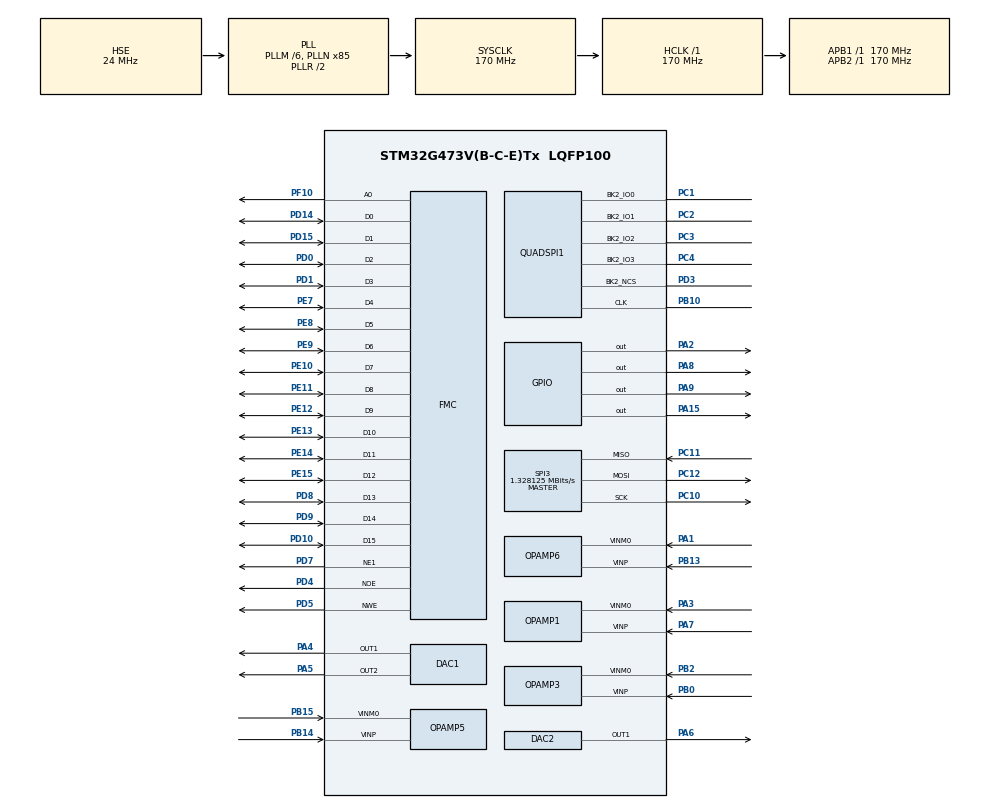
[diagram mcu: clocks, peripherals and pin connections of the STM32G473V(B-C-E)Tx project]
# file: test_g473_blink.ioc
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ADC1.AWD1HighThreshold=4095
ADC1.AWD1ITMode=ENABLE
ADC1.AWD1LowThreshold=2048+768
ADC1.AWD2HighThreshold=2048+768
ADC1.AWD2ITMode=ENABLE
ADC1.AWD2LowThreshold=0
ADC1.AWDChannel-0\#ChannelRegularConversion=ADC_CHANNEL_VOPAMP1
ADC1.Channel-0\#ChannelRegularConversion=ADC_CHANNEL_VOPAMP1
ADC1.ContinuousConvMode=DISABLE
ADC1.DMAContinuousRequests=ENABLE
ADC1.EnableAnalogWatchDog1=true
ADC1.EnableAnalogWatchDog2=true
ADC1.EnableAnalogWatchDog3=false
ADC1.ExternalTrigConv=ADC_EXTERNALTRIG_T1_TRGO
ADC1.MonitoredBy-0\#ChannelRegularConversion=ADC_ANALOGWATCHDOG_2
ADC1.NbrOfConversionFlag=1
ADC1.OffsetNumber-0\#ChannelRegularConversion=ADC_OFFSET_NONE
ADC1.Rank-0\#ChannelRegularConversion=1
ADC1.RegFilteringConfig-0\#ChannelRegularConversion=ADC_AWD_FILTERING_NONE
ADC1.SamplingTime-0\#ChannelRegularConversion=ADC_SAMPLETIME_2CYCLES_5
ADC1.WDG2ChannelR1=ADC_CHANNEL_VOPAMP1
ADC1.WatchdogChannel=ADC_CHANNEL_VOPAMP1
ADC1.WatchdogMode2=ADC_ANALOGWATCHDOG_SINGLE_REGINJEC
ADC1.master=1
ADC3.Channel-0\#ChannelRegularConversion=ADC_CHANNEL_VOPAMP3_ADC3
ADC3.DMAContinuousRequests=ENABLE
ADC3.ExternalTrigConv=ADC_EXTERNALTRIG_T1_TRGO
ADC3.NbrOfConversionFlag=1
ADC3.OffsetNumber-0\#ChannelRegularConversion=ADC_OFFSET_NONE
ADC3.Rank-0\#ChannelRegularConversion=1
ADC3.SamplingTime-0\#ChannelRegularConversion=ADC_SAMPLETIME_24CYCLES_5
ADC3.master=1
ADC4.Channel-0\#ChannelRegularConversion=ADC_CHANNEL_VOPAMP6
ADC4.DMAContinuousRequests=ENABLE
ADC4.ExternalTrigConv=ADC_EXTERNALTRIG_T1_TRGO
ADC4.NbrOfConversionFlag=1
ADC4.OffsetNumber-0\#ChannelRegularConversion=ADC_OFFSET_NONE
ADC4.Rank-0\#ChannelRegularConversion=1
ADC4.SamplingTime-0\#ChannelRegularConversion=ADC_SAMPLETIME_24CYCLES_5
ADC5.Channel-0\#ChannelRegularConversion=ADC_CHANNEL_VOPAMP5
ADC5.DMAContinuousRequests=ENABLE
ADC5.ExternalTrigConv=ADC_EXTERNALTRIG_T1_TRGO
ADC5.NbrOfConversionFlag=1
ADC5.OffsetNumber-0\#ChannelRegularConversion=ADC_OFFSET_NONE
ADC5.Rank-0\#ChannelRegularConversion=1
ADC5.SamplingTime-0\#ChannelRegularConversion=ADC_SAMPLETIME_24CYCLES_5
DAC1.DAC_Channel-DAC_OUT2=DAC_CHANNEL_2
DAC1.DAC_Trigger_OUT1-DAC_OUT1=DAC_TRIGGER_T3_TRGO
DAC1.DAC_Trigger_OUT2-DAC_OUT2=DAC_TRIGGER_T3_TRGO
Dma.ADC1.1.Direction=DMA_PERIPH_TO_MEMORY
Dma.ADC1.1.EventEnable=DISABLE
Dma.ADC1.1.Instance=DMA1_Channel1
Dma.ADC1.1.MemDataAlignment=DMA_MDATAALIGN_HALFWORD
Dma.ADC1.1.MemInc=DMA_MINC_ENABLE
Dma.ADC1.1.Mode=DMA_CIRCULAR
Dma.ADC1.1.PeriphDataAlignment=DMA_PDATAALIGN_HALFWORD
Dma.ADC1.1.PeriphInc=DMA_PINC_DISABLE
Dma.ADC1.1.Polarity=HAL_DMAMUX_REQ_GEN_RISING
Dma.ADC1.1.Priority=DMA_PRIORITY_LOW
Dma.ADC1.1.RequestNumber=1
Dma.ADC1.1.SignalID=NONE
Dma.ADC1.1.SyncEnable=DISABLE
Dma.ADC1.1.SyncPolarity=HAL_DMAMUX_SYNC_NO_EVENT
Dma.ADC1.1.SyncRequestNumber=1
Dma.ADC1.1.SyncSignalID=NONE
Dma.ADC3.4.Direction=DMA_PERIPH_TO_MEMORY
Dma.ADC3.4.EventEnable=DISABLE
Dma.ADC3.4.Instance=DMA1_Channel2
Dma.ADC3.4.MemDataAlignment=DMA_MDATAALIGN_HALFWORD
Dma.ADC3.4.MemInc=DMA_MINC_ENABLE
Dma.ADC3.4.Mode=DMA_CIRCULAR
Dma.ADC3.4.PeriphDataAlignment=DMA_PDATAALIGN_HALFWORD
Dma.ADC3.4.PeriphInc=DMA_PINC_DISABLE
Dma.ADC3.4.Polarity=HAL_DMAMUX_REQ_GEN_RISING
Dma.ADC3.4.Priority=DMA_PRIORITY_LOW
Dma.ADC3.4.RequestNumber=1
Dma.ADC3.4.SignalID=NONE
Dma.ADC3.4.SyncEnable=DISABLE
Dma.ADC3.4.SyncPolarity=HAL_DMAMUX_SYNC_NO_EVENT
Dma.ADC3.4.SyncRequestNumber=1
Dma.ADC3.4.SyncSignalID=NONE
Dma.ADC4.5.Direction=DMA_PERIPH_TO_MEMORY
Dma.ADC4.5.EventEnable=DISABLE
Dma.ADC4.5.Instance=DMA1_Channel3
Dma.ADC4.5.MemDataAlignment=DMA_MDATAALIGN_HALFWORD
Dma.ADC4.5.MemInc=DMA_MINC_ENABLE
Dma.ADC4.5.Mode=DMA_CIRCULAR
Dma.ADC4.5.PeriphDataAlignment=DMA_PDATAALIGN_HALFWORD
Dma.ADC4.5.PeriphInc=DMA_PINC_DISABLE
Dma.ADC4.5.Polarity=HAL_DMAMUX_REQ_GEN_RISING
Dma.ADC4.5.Priority=DMA_PRIORITY_LOW
Dma.ADC4.5.RequestNumber=1
Dma.ADC4.5.SignalID=NONE
Dma.ADC4.5.SyncEnable=DISABLE
Dma.ADC4.5.SyncPolarity=HAL_DMAMUX_SYNC_NO_EVENT
Dma.ADC4.5.SyncRequestNumber=1
Dma.ADC4.5.SyncSignalID=NONE
Dma.ADC5.6.Direction=DMA_PERIPH_TO_MEMORY
Dma.ADC5.6.EventEnable=DISABLE
Dma.ADC5.6.Instance=DMA1_Channel4
Dma.ADC5.6.MemDataAlignment=DMA_MDATAALIGN_HALFWORD
Dma.ADC5.6.MemInc=DMA_MINC_ENABLE
Dma.ADC5.6.Mode=DMA_CIRCULAR
Dma.ADC5.6.PeriphDataAlignment=DMA_PDATAALIGN_HALFWORD
Dma.ADC5.6.PeriphInc=DMA_PINC_DISABLE
Dma.ADC5.6.Polarity=HAL_DMAMUX_REQ_GEN_RISING
Dma.ADC5.6.Priority=DMA_PRIORITY_LOW
Dma.ADC5.6.RequestNumber=1
Dma.ADC5.6.SignalID=NONE
Dma.ADC5.6.SyncEnable=DISABLE
Dma.ADC5.6.SyncPolarity=HAL_DMAMUX_SYNC_NO_EVENT
Dma.ADC5.6.SyncRequestNumber=1
Dma.ADC5.6.SyncSignalID=NONE
Dma.DAC1_CH1.2.Direction=DMA_MEMORY_TO_PERIPH
Dma.DAC1_CH1.2.EventEnable=DISABLE
Dma.DAC1_CH1.2.Instance=DMA2_Channel1
Dma.DAC1_CH1.2.MemDataAlignment=DMA_MDATAALIGN_HALFWORD
Dma.DAC1_CH1.2.MemInc=DMA_MINC_ENABLE
Dma.DAC1_CH1.2.Mode=DMA_CIRCULAR
Dma.DAC1_CH1.2.PeriphDataAlignment=DMA_PDATAALIGN_WORD
Dma.DAC1_CH1.2.PeriphInc=DMA_PINC_DISABLE
Dma.DAC1_CH1.2.Polarity=HAL_DMAMUX_REQ_GEN_RISING
Dma.DAC1_CH1.2.Priority=DMA_PRIORITY_LOW
Dma.DAC1_CH1.2.RequestNumber=1
Dma.DAC1_CH1.2.SignalID=NONE
Dma.DAC1_CH1.2.SyncEnable=DISABLE
Dma.DAC1_CH1.2.SyncPolarity=HAL_DMAMUX_SYNC_NO_EVENT
Dma.DAC1_CH1.2.SyncRequestNumber=1
Dma.DAC1_CH1.2.SyncSignalID=NONE
Dma.DAC1_CH2.3.Direction=DMA_MEMORY_TO_PERIPH
Dma.DAC1_CH2.3.EventEnable=DISABLE
Dma.DAC1_CH2.3.Instance=DMA2_Channel2
Dma.DAC1_CH2.3.MemDataAlignment=DMA_MDATAALIGN_HALFWORD
Dma.DAC1_CH2.3.MemInc=DMA_MINC_ENABLE
Dma.DAC1_CH2.3.Mode=DMA_CIRCULAR
Dma.DAC1_CH2.3.PeriphDataAlignment=DMA_PDATAALIGN_WORD
Dma.DAC1_CH2.3.PeriphInc=DMA_PINC_DISABLE
Dma.DAC1_CH2.3.Polarity=HAL_DMAMUX_REQ_GEN_RISING
Dma.DAC1_CH2.3.Priority=DMA_PRIORITY_LOW
Dma.DAC1_CH2.3.RequestNumber=1
Dma.DAC1_CH2.3.SignalID=NONE
Dma.DAC1_CH2.3.SyncEnable=DISABLE
Dma.DAC1_CH2.3.SyncPolarity=HAL_DMAMUX_SYNC_NO_EVENT
Dma.DAC1_CH2.3.SyncRequestNumber=1
Dma.DAC1_CH2.3.SyncSignalID=NONE
Dma.QUADSPI.0.Direction=DMA_MEMORY_TO_PERIPH
Dma.QUADSPI.0.EventEnable=DISABLE
Dma.QUADSPI.0.Instance=DMA2_Channel3
Dma.QUADSPI.0.MemDataAlignment=DMA_MDATAALIGN_BYTE
Dma.QUADSPI.0.MemInc=DMA_MINC_ENABLE
Dma.QUADSPI.0.Mode=DMA_NORMAL
Dma.QUADSPI.0.PeriphDataAlignment=DMA_PDATAALIGN_BYTE
Dma.QUADSPI.0.PeriphInc=DMA_PINC_DISABLE
Dma.QUADSPI.0.Polarity=HAL_DMAMUX_REQ_GEN_RISING
Dma.QUADSPI.0.Priority=DMA_PRIORITY_LOW
Dma.QUADSPI.0.RequestNumber=1
Dma.QUADSPI.0.SignalID=NONE
Dma.QUADSPI.0.SyncEnable=DISABLE
Dma.QUADSPI.0.SyncPolarity=HAL_DMAMUX_SYNC_NO_EVENT
Dma.QUADSPI.0.SyncRequestNumber=1
Dma.QUADSPI.0.SyncSignalID=NONE
Dma.Request0=QUADSPI
Dma.Request1=ADC1
Dma.Request2=DAC1_CH1
Dma.Request3=DAC1_CH2
Dma.Request4=ADC3
Dma.Request5=ADC4
Dma.Request6=ADC5
FMC.DataSetupTime1=15
FMC.WriteFifo1=FMC_WRITE_FIFO_DISABLE
Mcu.Family=STM32G4
Mcu.Name=STM32G473V(B-C-E)Tx
Mcu.Package=LQFP100
NVIC.ADC1_2_IRQn=true\:0\:0\:false\:false\:true\:true\:true\:true
NVIC.DMA1_Channel1_IRQn=true\:0\:0\:false\:false\:true\:false\:true\:true
NVIC.DMA1_Channel2_IRQn=true\:0\:0\:false\:false\:true\:false\:true\:true
NVIC.DMA1_Channel3_IRQn=true\:0\:0\:false\:false\:true\:false\:true\:true
NVIC.DMA1_Channel4_IRQn=true\:0\:0\:false\:false\:true\:false\:true\:true
NVIC.DMA2_Channel1_IRQn=true\:0\:0\:false\:false\:true\:false\:true\:true
NVIC.DMA2_Channel2_IRQn=true\:0\:0\:false\:false\:true\:false\:true\:true
NVIC.DMA2_Channel3_IRQn=true\:0\:0\:false\:false\:true\:false\:true\:true
NVIC.PriorityGroup=NVIC_PRIORITYGROUP_4
NVIC.QUADSPI_IRQn=true\:0\:0\:false\:false\:true\:true\:true\:true
NVIC.TIM2_IRQn=true\:0\:0\:false\:false\:true\:true\:true\:true
OPAMP1.PowerMode=OPAMP_POWERMODE_NORMALSPEED
PA1.Mode=PGA Internally connected_IO0_BIAS
PA1.Signal=OPAMP6_VINM0
PA13.Mode=Trace_Asynchronous_SW
PA13.Signal=SYS_JTMS-SWDIO
PA14.Mode=Trace_Asynchronous_SW
PA14.Signal=SYS_JTCK-SWCLK
PA15.Signal=GPIO_Output
PA2.Signal=GPIO_Output
PA3.Mode=PGA Internally connected_IO0_BIAS
PA3.Signal=OPAMP1_VINM0
PA4.Signal=COMP_DAC11_group
PA5.Signal=COMP_DAC12_group
PA6.Signal=COMP_DAC21_group
PA7.Mode=PGA Internally connected_IO0_BIAS
PA7.Signal=OPAMP1_VINP
PA8.Signal=GPIO_Output
PA9.Signal=GPIO_Output
PB0.Mode=PGA Internally connected_IO0_BIAS
PB0.Signal=OPAMP3_VINP
PB10.Mode=Single Bank 2
PB10.Signal=QUADSPI1_CLK
PB13.Mode=PGA Internally connected_IO0_BIAS
PB13.Signal=OPAMP6_VINP
PB14.Mode=PGA Internally connected_IO0_BIAS
PB14.Signal=OPAMP5_VINP
PB15.Mode=PGA Internally connected_IO0_BIAS
PB15.Signal=OPAMP5_VINM0
PB2.Mode=PGA Internally connected_IO0_BIAS
PB2.Signal=OPAMP3_VINM0
PB3.Mode=Trace_Asynchronous_SW
PB3.Signal=SYS_JTDO-SWO
PC1.Mode=Single Bank 2
PC1.Signal=QUADSPI1_BK2_IO0
PC10.Mode=Full_Duplex_Master
PC10.Signal=SPI3_SCK
PC11.Mode=Full_Duplex_Master
PC11.Signal=SPI3_MISO
PC12.Mode=Full_Duplex_Master
PC12.Signal=SPI3_MOSI
PC2.Mode=Single Bank 2
PC2.Signal=QUADSPI1_BK2_IO1
PC3.Mode=Single Bank 2
PC3.Signal=QUADSPI1_BK2_IO2
PC4.Mode=Single Bank 2
PC4.Signal=QUADSPI1_BK2_IO3
PD0.Mode=16b-d1
PD0.Signal=FMC_D2
PD1.Mode=16b-d1
PD1.Signal=FMC_D3
PD10.Mode=16b-d1
PD10.Signal=FMC_D15
PD14.Mode=16b-d1
PD14.Signal=FMC_D0
PD15.Mode=16b-d1
PD15.Signal=FMC_D1
PD3.Mode=Single Bank 2
PD3.Signal=QUADSPI1_BK2_NCS
PD4.Mode=Lcd1
PD4.Signal=FMC_NOE
PD5.Mode=Lcd1
PD5.Signal=FMC_NWE
PD7.Mode=NorPsramChipSelect1_1
PD7.Signal=FMC_NE1
PD8.Mode=16b-d1
PD8.Signal=FMC_D13
PD9.Mode=16b-d1
PD9.Signal=FMC_D14
PE10.Mode=16b-d1
PE10.Signal=FMC_D7
PE11.Mode=16b-d1
PE11.Signal=FMC_D8
PE12.Mode=16b-d1
PE12.Signal=FMC_D9
PE13.Mode=16b-d1
PE13.Signal=FMC_D10
PE14.Mode=16b-d1
PE14.Signal=FMC_D11
PE15.Mode=16b-d1
PE15.Signal=FMC_D12
PE7.Mode=16b-d1
PE7.Signal=FMC_D4
PE8.Mode=16b-d1
PE8.Signal=FMC_D5
PE9.Mode=16b-d1
PE9.Signal=FMC_D6
PF0-OSC_IN.Mode=HSE-External-Oscillator
PF0-OSC_IN.Signal=RCC_OSC_IN
PF1-OSC_OUT.Mode=HSE-External-Oscillator
PF1-OSC_OUT.Signal=RCC_OSC_OUT
PF10.Mode=A0_1
PF10.Signal=FMC_A0
ProjectManager.HeapSize=0x200
ProjectManager.StackSize=0x400
ProjectManager.TargetToolchain=STM32CubeIDE
QUADSPI1.ChipSelectHighTime=QSPI_CS_HIGH_TIME_1_CYCLE
QUADSPI1.ClockPrescaler=6
QUADSPI1.FlashSize=23
RCC.ADC12Freq_Value=170000000
RCC.ADC345Freq_Value=170000000
RCC.AHBFreq_Value=170000000
RCC.APB1Freq_Value=170000000
RCC.APB1TimFreq_Value=170000000
RCC.APB2Freq_Value=170000000
RCC.APB2TimFreq_Value=170000000
RCC.CK48CLockSelection=RCC_USBCLKSOURCE_HSI48
RCC.CortexFreq_Value=170000000
RCC.EXTERNAL_CLOCK_VALUE=12288000
RCC.HCLKFreq_Value=170000000
RCC.HSE_VALUE=24000000
RCC.HSI48_VALUE=48000000
RCC.HSI_VALUE=16000000
RCC.LSE_VALUE=32768
RCC.PLLM=RCC_PLLM_DIV6
RCC.PLLN=85
RCC.PLLQ=RCC_PLLQ_DIV8
RCC.PLLSourceVirtual=RCC_PLLSOURCE_HSE
RCC.SYSCLKFreq_VALUE=170000000
RCC.SYSCLKSource=RCC_SYSCLKSOURCE_PLLCLK
RCC.USBFreq_Value=48000000
RCC.VCOOutputFreq_Value=340000000
SH.COMP_DAC11_group.0=DAC1_OUT1,DAC_OUT1
SH.COMP_DAC12_group.0=DAC1_OUT2,DAC_OUT2
SH.COMP_DAC21_group.0=DAC2_OUT1,DAC_OUT1
SPI3.BaudRatePrescaler=SPI_BAUDRATEPRESCALER_128
SPI3.CalculateBaudRate=1.328125 MBits/s
SPI3.DataSize=SPI_DATASIZE_8BIT
SPI3.Direction=SPI_DIRECTION_2LINES
SPI3.Mode=SPI_MODE_MASTER
SPI3.NSSPMode=SPI_NSS_PULSE_DISABLE
SPI3.VirtualType=VM_MASTER
TIM1.PeriodNoDither=2-1
TIM1.Prescaler=85-1
TIM1.TIM_MasterOutputTrigger=TIM_TRGO_UPDATE
TIM2.Channel-Output\ Compare1\ No\ Output=TIM_CHANNEL_1
TIM2.PeriodNoDither=2*512-1
TIM2.Prescaler=85-1
TIM2.PulseNoDither_1=2*512-1
TIM3.PeriodNoDither=2-1
TIM3.Prescaler=85-1
TIM3.TIM_MasterOutputTrigger=TIM_TRGO_UPDATE
VP_ADC1_OPAMP_INTERNAL1.Mode=IN-OPAMP1
VP_ADC3_OPAMP_INTERNAL3.Mode=IN-OPAMP3
VP_ADC4_OPAMP_INTERNAL6.Mode=IN-OPAMP6
VP_ADC5_OPAMP_INTERNAL5.Mode=IN-OPAMP5
VP_SYS_V_VREFBUF.Mode=ExternalMode
VP_TIM1_VS_ClockSourceINT.Mode=Internal
VP_TIM2_VS_ClockSourceINT.Mode=Internal
VP_TIM2_VS_no_output1.Mode=Output Compare1 No Output
VP_TIM3_VS_ClockSourceINT.Mode=Internal
board=custom

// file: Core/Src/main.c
/* USER CODE BEGIN Header */
/**
  ******************************************************************************
  * @file           : main.c
  * @brief          : Main program body
  ******************************************************************************
  * @attention
  *
  * Copyright (c) 2023 STMicroelectronics.
  * All rights reserved.
  *
  * This software is licensed under terms that can be found in the LICENSE file
  * in the root directory of this software component.
  * If no LICENSE file comes with this software, it is provided AS-IS.
  *
  ******************************************************************************
  */
/* USER CODE END Header */
#include "main.h"
#include "adc.h"
#include "dac.h"
#include "dma.h"
#include "opamp.h"
#include "quadspi.h"
#include "spi.h"
#include "tim.h"
#include "gpio.h"
#include "fmc.h"

/* USER CODE BEGIN Includes */
#include <stdlib.h>
#include <stdio.h>
#include <stdint.h>
#include <string.h>
#include <limits.h>
#include <time.h>

#include "nuklear.h"
#include "framebuf.h"
#include "tsc2046.h"
#include "psram.h"
#include "lcd.h"
#include "FontUbuntuBookRNormal16.h"
//#define NK_INCLUDE_STANDARD_VARARGS (1)
/* USER CODE END Includes */

void SystemClock_Config(void);

/* USER CODE BEGIN 0 */
int _write(int file, char *ptr, int len)
{
	int DataIdx;
	for(DataIdx = 0; DataIdx < len; DataIdx++)
	{
		ITM_SendChar(*ptr++);
	}
    return len;
}

int32_t get_systick()
{
	return SysTick->VAL;
}

int32_t diff_systick( int32_t b, int32_t a )
{
	int d = 0;
	if( b < a )
	{
	  d = a-b;
	}
	else
	{
	  d = a+(SysTick->LOAD-b);
	}
	return d;
}

float text_width_f( nk_handle handle, float h, const char* t, int len )
{
	return font_text_width( &fontUbuntuBookRNormal16, t );
}

uint32_t nk_colot_to_rgb666( struct nk_color color )
{
	uint32_t rgb666 = 0;

	color.r = (color.r*color.a)/256.0;
	color.g = (color.g*color.a)/256.0;
	color.b = (color.b*color.a)/256.0;

	color.r >>= 2;
	color.g >>= 2;
	color.b >>= 2;
	rgb666 = (color.r<<12) | (color.g<<6) | (color.b<<0);
	return rgb666;
}

#define CHANNEL_COUNT 4
#define WAVEFORM_COUNT 2
#define CURSOR_COUNT 2
/*
enum TRIGGER_MODE {
    TRIGGER_MODE_AUTO,
    TRIGGER_MODE_NORMAL
};*/

enum TRIGGER_SLOPE {
    TRIGGER_SLOPE_RISING,
    TRIGGER_SLOPE_FALLING,
    TRIGGER_SLOPE_BOTH
};

enum CHANNEL_COUPLING {
    CHANNEL_COUPLING_AC,
    CHANNEL_COUPLING_DC,
    CHANNEL_COUPLING_GND
};

struct Oscilloscope {
    nk_bool acquire_run;
    nk_bool acquire_single;

    float horizontal_offset;
    float horizontal_scale;

    float trigger_offset;
    int trigger_mode;
    int trigger_slope;
    int trigger_source;
    nk_bool trigger_armed;

    int channel_selected;
    struct {
        nk_bool enabled;
        int coupling;
        float offset;
        float scale;
        struct nk_color color;
    } channels[CHANNEL_COUNT];

    int waveform_selected;
    struct {
        nk_bool enabled;
        int type;
        float offset;
        float scale;
        float duty_cycle;
        struct nk_color color;
    } waveforms[WAVEFORM_COUNT];

    int cursor_selected;
    struct {
        nk_bool enabled;
        nk_bool horizontal;
        float offset;
        float track;
        struct nk_color color;
    } cursors[CURSOR_COUNT];

    nk_bool draw_bg;
    int draw_signals;
};
int visible = 0;
struct nk_rect keypad_size = {35, 35, 142, 208};
void oscilloscope_process(struct Oscilloscope *osc, struct nk_context *ctx)
{
	visible = 0;
	if( nk_begin(ctx, "STM32G4 Scope", nk_rect(0, 0, 240, 320), NK_WINDOW_MINIMIZABLE ) )
	{
		visible = 1;
        osc->draw_bg = nk_true;
        if( nk_tree_push( ctx, NK_TREE_TAB, "Acquire", NK_MAXIMIZED) ){
            osc->draw_bg = nk_false;
            nk_layout_row(ctx, NK_STATIC, 30, 4, (float[]){60, 60, 60, 60});
            nk_button_set_behavior(ctx, NK_BUTTON_DEFAULT);
            if (osc->acquire_run) {
                if (nk_button_label(ctx, "Stop")) {
                    osc->acquire_run = nk_false;
                }
            } else {
                if (nk_button_label(ctx, "Run")) {
                    osc->acquire_run = nk_true;
                }
            }
            //osc->acquire_run = nk_check_label( ctx, osc->acquire_run?"Stop":"Run", osc->acquire_run );

            if (nk_button_label(ctx, "Single")) {
                osc->acquire_single = nk_true;
            }

            if (nk_button_label(ctx, "Draw")) {
                if (osc->draw_signals + 1 < 3) {
                    osc->draw_signals += 1;
                } else {
                    osc->draw_signals = 0;
                }
            }
            nk_tree_pop(ctx);
        }

        {
        	if( nk_tree_push( ctx, NK_TREE_TAB, "Horizontal", NK_MINIMIZED) ){
        		nk_layout_row(ctx, NK_STATIC, 30, 4, (float[]){60, 30, 60, 30});
        		nk_label( ctx, "Offset", NK_TEXT_LEFT );
        		nk_button_set_behavior(ctx, NK_BUTTON_REPEATER);
        		if( nk_button_symbol(ctx, NK_SYMBOL_TRIANGLE_LEFT) )
        		{
        			osc->horizontal_offset -= 1;
        		}
        		char combo_buffer[32];
        		sprintf(combo_buffer, "%.2f", osc->horizontal_offset);

        		static int show_app_about = 0;
        		show_app_about |= nk_button_label( ctx, combo_buffer );

                if (show_app_about)
                {
                    /* about popup */
                    //static struct nk_rect s = {20, 20, 200, 200};
                    if (nk_popup_begin(ctx, NK_POPUP_STATIC, "Keypad", NK_WINDOW_CLOSABLE | NK_WINDOW_NO_SCROLLBAR, keypad_size ) )
                    {
                    	nk_layout_row(ctx, NK_STATIC, 30, 1, (float[]){30+30+30+30});
                        nk_label(ctx, "0.00", NK_TEXT_RIGHT );
                        nk_layout_row(ctx, NK_STATIC, 30, 4, (float[]){30, 30, 30, 30});
                        nk_button_label( ctx, "7" );
                        nk_button_label( ctx, "8" );
                        nk_button_label( ctx, "9" );
                        nk_button_label( ctx, "k" );
                        nk_button_label( ctx, "4" );
                        nk_button_label( ctx, "5" );
                        nk_button_label( ctx, "6" );
                        nk_button_label( ctx, "m" );
                        nk_button_label( ctx, "1" );
                        nk_button_label( ctx, "2" );
                        nk_button_label( ctx, "3" );
                        nk_button_label( ctx, "u" );
                        nk_button_label( ctx, "C" );
                        nk_button_label( ctx, "0" );
                        nk_button_label( ctx, "." );
                        nk_button_symbol( ctx, NK_SYMBOL_X );
                        nk_popup_end(ctx);
                    } else show_app_about = nk_false;
                }

        		nk_button_set_behavior(ctx, NK_BUTTON_REPEATER);
        		if( nk_button_symbol(ctx, NK_SYMBOL_TRIANGLE_RIGHT) )
        		{
        			osc->horizontal_offset += 1;
        		}

        		nk_layout_row(ctx, NK_STATIC, 30, 2, (float[]){60,30+60+30});
        		nk_label( ctx, "Scale", NK_TEXT_LEFT );
        		nk_property_int(ctx, "", -100, &osc->horizontal_scale, 100, 1, 1);

        		/*nk_label( ctx, "Scale", NK_TEXT_LEFT );
				nk_button_set_behavior(ctx, NK_BUTTON_REPEATER);
				if( nk_button_symbol(ctx, NK_SYMBOL_TRIANGLE_LEFT) )
				{
					osc->horizontal_scale -= 1;
				}
				//char combo_buffer[32];
				sprintf(combo_buffer, "%.2f", osc->horizontal_scale);
				nk_label( ctx, combo_buffer, NK_TEXT_CENTERED );
				nk_button_set_behavior(ctx, NK_BUTTON_REPEATER);
				if( nk_button_symbol(ctx, NK_SYMBOL_TRIANGLE_RIGHT) )
				{
					osc->horizontal_scale += 1;
				}*/
                nk_tree_pop(ctx);
            }

        	if( nk_tree_push( ctx, NK_TREE_TAB, "Vertical", NK_MINIMIZED) ){
        		nk_layout_row(ctx, NK_STATIC, 30, 1, (float[]){94});
        		//nk_style_push_style_item(&ctx, &ctx->style.combo.button.text_background, nk_style_item_color(nk_rgb(255,0,0)));
        		osc->channel_selected = nk_combo(ctx, (const char*[]){"Ch1", "Ch2", "Ch3", "Ch4"}, CHANNEL_COUNT, osc->channel_selected, 30, nk_vec2(94, 160));
        		//nk_style_pop_style_item(&ctx);
        		nk_layout_row(ctx, NK_STATIC, 30, 2, (float[]){94, 94});
                osc->channels[osc->channel_selected].enabled = nk_combo(ctx, (const char*[]){"Off", "On"}, 2, osc->channels[osc->channel_selected].enabled, 30, nk_vec2(94, 120));
                osc->channels[osc->channel_selected].coupling = nk_combo(ctx, (const char*[]){"DC", "AC", "Gnd"}, 3, osc->channels[osc->channel_selected].coupling, 30, nk_vec2(94, 120));
                //osc->channels[osc->channel_selected].offset = nk_slider_float(ctx, -10.0f, &osc->channels[osc->channel_selected].offset, 10.0f, 1.0f);
                //osc->channels[osc->channel_selected].scale = nk_slider_float(ctx, -10.0f, &osc->channels[osc->channel_selected].scale, 10.0f, 1.0f);

                nk_layout_row(ctx, NK_STATIC, 30, 4, (float[]){60, 30, 60, 30});
        		nk_label( ctx, "Offset", NK_TEXT_LEFT );
        		nk_button_set_behavior(ctx, NK_BUTTON_REPEATER);
        		if( nk_button_symbol(ctx, NK_SYMBOL_TRIANGLE_LEFT) )
        		{
        			osc->channels[osc->channel_selected].offset -= 1;
        		}
        		char combo_buffer[32];
        		sprintf(combo_buffer, "%.2f", osc->channels[osc->channel_selected].offset);
        		nk_label( ctx, combo_buffer, NK_TEXT_CENTERED );
        		nk_button_set_behavior(ctx, NK_BUTTON_REPEATER);
        		if( nk_button_symbol(ctx, NK_SYMBOL_TRIANGLE_RIGHT) )
        		{
        			osc->channels[osc->channel_selected].offset += 1;
        		}

        		nk_label( ctx, "Scale", NK_TEXT_LEFT );
				nk_button_set_behavior(ctx, NK_BUTTON_REPEATER);
				if( nk_button_symbol(ctx, NK_SYMBOL_TRIANGLE_LEFT) )
				{
					osc->channels[osc->channel_selected].scale -= 1;
				}
				//char combo_buffer[32];
				sprintf(combo_buffer, "%.2f", osc->channels[osc->channel_selected].scale);
				nk_label( ctx, combo_buffer, NK_TEXT_CENTERED );
				nk_button_set_behavior(ctx, NK_BUTTON_REPEATER);
				if( nk_button_symbol(ctx, NK_SYMBOL_TRIANGLE_RIGHT) )
				{
					osc->channels[osc->channel_selected].scale += 1;
				}
                nk_tree_pop(ctx);
            }

            if( nk_tree_push( ctx, NK_TREE_TAB, "Trigger", NK_MINIMIZED) ){
            	nk_layout_row(ctx, NK_STATIC, 30, 1, (float[]){94});
                osc->trigger_source = nk_combo(ctx, (const char*[]){"Ch1", "Ch2", "Ch3", "Ch4"}, CHANNEL_COUNT, osc->trigger_source, 30, nk_vec2(94, 160));
                nk_layout_row(ctx, NK_STATIC, 30, 2, (float[]){94, 94});
                osc->trigger_mode = nk_combo(ctx, (const char*[]){"Normal", "Auto"}, 2, osc->trigger_mode, 30, nk_vec2(94, 120));
                osc->trigger_slope = nk_combo(ctx, (const char*[]){"Rising", "Falling", "Both"}, 3, osc->trigger_slope, 30, nk_vec2(94, 120));
                //nk_layout_row(ctx, NK_STATIC, 30, 1, (float[]){200});
                //nk_slider_float(ctx, -10.0f, &osc->trigger_offset, 10.0f, 1.0f);

                nk_layout_row(ctx, NK_STATIC, 30, 4, (float[]){60, 30, 60, 30});
        		nk_label( ctx, "Offset", NK_TEXT_LEFT );
        		nk_button_set_behavior(ctx, NK_BUTTON_REPEATER);
        		if( nk_button_symbol(ctx, NK_SYMBOL_TRIANGLE_LEFT) )
        		{
        			osc->trigger_offset -= 1;
        		}
        		char combo_buffer[32];
        		sprintf(combo_buffer, "%.2f", osc->trigger_offset);
        		nk_label( ctx, combo_buffer, NK_TEXT_CENTERED );
        		nk_button_set_behavior(ctx, NK_BUTTON_REPEATER);
        		if( nk_button_symbol(ctx, NK_SYMBOL_TRIANGLE_RIGHT) )
        		{
        			osc->trigger_offset += 1;
        		}

                nk_tree_pop(ctx);
            }

            if( nk_tree_push( ctx, NK_TREE_TAB, "Waveform", NK_MINIMIZED) ){
            	nk_layout_row(ctx, NK_STATIC, 30, 1, (float[]){94});
                osc->waveform_selected = nk_combo(ctx, (const char*[]){"Wf1", "Wf2"}, WAVEFORM_COUNT, osc->waveform_selected, 30, nk_vec2(94, 80));
                nk_layout_row(ctx, NK_STATIC, 30, 2, (float[]){94, 94});
                osc->waveforms[osc->waveform_selected].enabled = nk_combo(ctx, (const char*[]){"Off", "On"}, 2, osc->waveforms[osc->waveform_selected].enabled, 30, nk_vec2(94, 200));
                osc->waveforms[osc->waveform_selected].type = nk_combo(ctx, (const char*[]){"DC", "PWM", "Sine", "Tria", "Saw", "Noise"}, 6, osc->waveforms[osc->waveform_selected].type, 30, nk_vec2(94, 240));
                //osc->waveforms[osc->waveform_selected].offset = nk_slider_float(ctx, -10.0f, &osc->waveforms[osc->waveform_selected].offset, 10.0f, 1.0f);
                //osc->waveforms[osc->waveform_selected].scale = nk_slider_float(ctx, -10.0f, &osc->waveforms[osc->waveform_selected].scale, 10.0f, 1.0f);
                //osc->waveforms[osc->waveform_selected].duty_cycle = nk_slider_float(ctx, -10.0f, &osc->waveforms[osc->waveform_selected].duty_cycle, 10.0f, 1.0f);

                nk_layout_row(ctx, NK_STATIC, 30, 4, (float[]){60, 30, 60, 30});
        		nk_label( ctx, "Offset", NK_TEXT_LEFT );
        		nk_button_set_behavior(ctx, NK_BUTTON_REPEATER);
        		if( nk_button_symbol(ctx, NK_SYMBOL_TRIANGLE_LEFT) )
        		{
        			osc->waveforms[osc->waveform_selected].offset -= 1;
        		}
        		char combo_buffer[32];
        		sprintf(combo_buffer, "%.2f", osc->waveforms[osc->waveform_selected].offset);
        		nk_label( ctx, combo_buffer, NK_TEXT_CENTERED );
        		nk_button_set_behavior(ctx, NK_BUTTON_REPEATER);
        		if( nk_button_symbol(ctx, NK_SYMBOL_TRIANGLE_RIGHT) )
        		{
        			osc->waveforms[osc->waveform_selected].offset += 1;
        		}

        		nk_label( ctx, "Scale", NK_TEXT_LEFT );
        		nk_button_set_behavior(ctx, NK_BUTTON_REPEATER);
        		if( nk_button_symbol(ctx, NK_SYMBOL_TRIANGLE_LEFT) )
        		{
        			osc->waveforms[osc->waveform_selected].scale -= 1;
        		}
        		//char combo_buffer[32];
        		sprintf(combo_buffer, "%.2f", osc->waveforms[osc->waveform_selected].scale);
        		nk_label( ctx, combo_buffer, NK_TEXT_CENTERED );
        		nk_button_set_behavior(ctx, NK_BUTTON_REPEATER);
        		if( nk_button_symbol(ctx, NK_SYMBOL_TRIANGLE_RIGHT) )
        		{
        			osc->waveforms[osc->waveform_selected].scale += 1;
        		}

        		nk_label( ctx, "Duty", NK_TEXT_LEFT );
        		nk_button_set_behavior(ctx, NK_BUTTON_REPEATER);
        		if( nk_button_symbol(ctx, NK_SYMBOL_TRIANGLE_LEFT) )
        		{
        			osc->waveforms[osc->waveform_selected].duty_cycle -= 1;
        		}
        		//char combo_buffer[32];
        		sprintf(combo_buffer, "%.2f", osc->waveforms[osc->waveform_selected].duty_cycle);
        		nk_label( ctx, combo_buffer, NK_TEXT_CENTERED );
        		nk_button_set_behavior(ctx, NK_BUTTON_REPEATER);
        		if( nk_button_symbol(ctx, NK_SYMBOL_TRIANGLE_RIGHT) )
        		{
        			osc->waveforms[osc->waveform_selected].duty_cycle += 1;
        		}
                nk_tree_pop(ctx);
            }

			if( nk_tree_push( ctx, NK_TREE_TAB, "Cursor", NK_MINIMIZED) ){
				nk_layout_row(ctx, NK_STATIC, 30, 1, (float[]){94});
                osc->cursor_selected = nk_combo(ctx, (const char*[]){"C1", "C2"}, CURSOR_COUNT, osc->cursor_selected, 20, nk_vec2(94, 100));
                nk_layout_row(ctx, NK_STATIC, 30, 2, (float[]){94, 94});
                osc->cursors[osc->cursor_selected].enabled = nk_combo(ctx, (const char*[]){"Off", "On"}, 2, osc->cursors[osc->cursor_selected].enabled, 30, nk_vec2(94, 100));
                osc->cursors[osc->cursor_selected].horizontal = nk_combo(ctx, (const char*[]){"Track", "Free"}, 2, osc->cursors[osc->cursor_selected].horizontal, 30, nk_vec2(94, 100));

                //osc->cursors[osc->cursor_selected].offset = nk_slider_float(ctx, -10.0f, &osc->cursors[osc->cursor_selected].offset, 10.0f, 1.0f);
                //osc->cursors[osc->cursor_selected].track = nk_slider_float(ctx, -10.0f, &osc->cursors[osc->cursor_selected].track, 10.0f, 1.0f);
                nk_layout_row(ctx, NK_STATIC, 30, 4, (float[]){60, 30, 60, 30});
        		nk_label( ctx, "Offset", NK_TEXT_LEFT );
        		nk_button_set_behavior(ctx, NK_BUTTON_REPEATER);
        		if( nk_button_symbol(ctx, NK_SYMBOL_TRIANGLE_LEFT) )
        		{
        			osc->cursors[osc->cursor_selected].offset -= 1;
        		}
        		char combo_buffer[32];
        		sprintf(combo_buffer, "%.2f", osc->cursors[osc->cursor_selected].offset);
        		nk_label( ctx, combo_buffer, NK_TEXT_CENTERED );
        		nk_button_set_behavior(ctx, NK_BUTTON_REPEATER);
        		if( nk_button_symbol(ctx, NK_SYMBOL_TRIANGLE_RIGHT) )
        		{
        			osc->cursors[osc->cursor_selected].offset += 1;
        		}

        		nk_label( ctx, "Track", NK_TEXT_LEFT );
        		nk_button_set_behavior(ctx, NK_BUTTON_REPEATER);
        		if( nk_button_symbol(ctx, NK_SYMBOL_TRIANGLE_LEFT) )
        		{
        			osc->cursors[osc->cursor_selected].track -= 1;
        		}
        		//char combo_buffer[32];
        		sprintf(combo_buffer, "%.2f", osc->cursors[osc->cursor_selected].track);
        		nk_label( ctx, combo_buffer, NK_TEXT_CENTERED );
        		nk_button_set_behavior(ctx, NK_BUTTON_REPEATER);
        		if( nk_button_symbol(ctx, NK_SYMBOL_TRIANGLE_RIGHT) )
        		{
        			osc->cursors[osc->cursor_selected].track += 1;
        		}

                nk_tree_pop(ctx);
            }

			if( nk_tree_push( ctx, NK_TREE_TAB, "Measurements", NK_MINIMIZED) ){
                nk_label(ctx, "Todo", NK_TEXT_LEFT);
                nk_tree_pop(ctx);
            }

			if( nk_tree_push( ctx, NK_TREE_TAB, "Info", NK_MINIMIZED) ){
                nk_layout_row(ctx, NK_STATIC, 30, 2, (float[]){60, 120});

                float fps = 0.0f; // Calculate fps here
                nk_label(ctx, "FPS", NK_TEXT_LEFT);

                static int a = 0;
                static int b = 0;
                b = a;
                a = HAL_GetTick();
                int d = a-b;
                char buffer[32];
                sprintf(buffer, "%f", 1000.0f/d);

                nk_label(ctx, buffer, NK_TEXT_LEFT); // Replace with actual fps

                float ratio = 0.0f; // Calculate memory ratio here
                nk_label(ctx, "Memory1", NK_TEXT_LEFT);

                sprintf(buffer, "%d%%", (100*ctx->memory.allocated)/ctx->memory.size );
                nk_label(ctx, buffer, NK_TEXT_LEFT); // Replace with actual memory ratio

                //float ratio = 0.0f; // Calculate memory ratio here
                nk_label(ctx, "Memory2", NK_TEXT_LEFT);

                sprintf(buffer, "%d%%", (100*ctx->pool.cap)/ctx->pool.size);
                nk_label(ctx, buffer, NK_TEXT_LEFT); // Replace with actual memory ratio

                nk_tree_pop(ctx);
            }
        }
        //nk_end(ctx);
    }
	nk_end(ctx);
}

int tmp = 0;
int quadrant = 0x01;
void nk_draw_fb( struct nk_context *ctx, tFramebuf *pfb, tLcd *pLcd )
{
	  for( int y0 = 0 ; y0 < 320 ; y0 += pfb->height )
	  {
	   framebuf_fill( pfb, 0x00000000 );
	  {
		  const struct nk_command *cmd = NULL;
		  nk_foreach(cmd, ctx)
		  {
			  //printf( "cmd->type = %d\n", cmd->type );
			  switch (cmd->type) {
			  case NK_COMMAND_NOP: break;
			  case NK_COMMAND_SCISSOR: {
				  const struct nk_command_scissor *s = (const struct nk_command_scissor*)cmd;
			  } break;
			  case NK_COMMAND_LINE: {
				  const struct nk_command_line *l = (const struct nk_command_line*)cmd;
				  if( l->begin.y == l->end.y )
				  {
					  framebuf_hline( pfb, l->begin.x, l->begin.y-y0, l->end.x-l->begin.x, nk_colot_to_rgb666( l->color ) );
				  }
				  else if( l->begin.x == l->end.x )
				  {
					  framebuf_vline( pfb, l->begin.x, l->begin.y-y0, l->end.y-l->begin.y, nk_colot_to_rgb666( l->color ) );
				  }
				  else
				  {
					  framebuf_line( pfb, l->begin.x, l->begin.y-y0, l->end.x, l->end.y-y0, nk_colot_to_rgb666( l->color ) );
				  }
			  } break;
			  case NK_COMMAND_RECT: {
				  const struct nk_command_rect *r = (const struct nk_command_rect*)cmd;
				  //printf( "NK_COMMAND_RECT x: %d, y: %d, width: %d, height: %d, rounding: %d, thickness: %d\n", r->x, r->y, r->w, r->h, r->rounding, r->line_thickness );
				  //framebuf_rect( pfb, r->x, r->y-y0, r->w, r->h, nk_colot_to_rgb666( r->color ) );
				  int rad = 4;//r->rounding;
                    framebuf_circle_quadrant( pfb, r->x+r->w-rad, r->y-y0+r->h-rad, rad, nk_colot_to_rgb666( r->color ), QUADRANT_0 );
                    framebuf_circle_quadrant( pfb, r->x+rad, r->y-y0+r->h-rad, rad, nk_colot_to_rgb666( r->color ), QUADRANT_90 );
                    framebuf_circle_quadrant( pfb, r->x+rad, r->y-y0+rad, rad, nk_colot_to_rgb666( r->color ), QUADRANT_180 );
                    framebuf_circle_quadrant( pfb, r->x+r->w-rad, r->y-y0+rad, rad, nk_colot_to_rgb666( r->color ), QUADRANT_270 );

                    framebuf_hline( pfb, r->x+rad, r->y-y0, r->w-rad-rad, nk_colot_to_rgb666( r->color ) );
                    framebuf_hline( pfb, r->x+rad, r->y-y0+r->h, r->w-rad-rad, nk_colot_to_rgb666( r->color ) );
                    framebuf_vline( pfb, r->x, r->y-y0+rad, r->h-rad-rad, nk_colot_to_rgb666( r->color ) );
                    framebuf_vline( pfb, r->x+r->w, r->y-y0+rad, r->h-rad-rad, nk_colot_to_rgb666( r->color ) );
			  } break;
			  case NK_COMMAND_RECT_FILLED: {
				  const struct nk_command_rect_filled *r = (const struct nk_command_rect_filled*)cmd;
				  //framebuf_fill_rect( pfb, r->x, r->y-y0, r->w, r->h, nk_colot_to_rgb666( r->color ) );
                  int rad = 4;//r->rounding;
                  struct nk_color r_color = r->color;
                  if( r_color.r == 50 )
                  {
                	  r_color.r = 40;
                	  r_color.g = 40;
                	  r_color.b = 40;
                	  r_color.a = 255;
                  }
                    framebuf_fill_circle_quadrant( pfb, r->x+r->w-rad, r->y-y0+r->h-rad, rad, nk_colot_to_rgb666( r_color ), QUADRANT_90 );
                    framebuf_fill_circle_quadrant( pfb, r->x+rad, r->y-y0+r->h-rad, rad, nk_colot_to_rgb666( r_color ), QUADRANT_90 );
                    framebuf_fill_circle_quadrant( pfb, r->x+rad, r->y-y0+rad, rad, nk_colot_to_rgb666( r_color ), QUADRANT_90 );
                    framebuf_fill_circle_quadrant( pfb, r->x+r->w-rad, r->y-y0+rad, rad, nk_colot_to_rgb666( r_color ), QUADRANT_90 );
                    // up and down
                    //framebuf_fill_rect( pfb, r->x+rad, r->y-y0, r->w-rad-rad, r->h, nk_colot_to_rgb666( r_color ) );
                    framebuf_fill_rect( pfb, r->x+rad, r->y-y0, r->w-rad-rad, rad, nk_colot_to_rgb666( r_color ) );
                    framebuf_fill_rect( pfb, r->x+rad, r->y-y0+r->h-rad, r->w-rad-rad, rad, nk_colot_to_rgb666( r_color ) );
                    // middle
                    framebuf_fill_rect(  pfb, r->x, r->y-y0+rad, r->w, r->h-rad-rad, nk_colot_to_rgb666( r_color ) );
			 } break;
			  case NK_COMMAND_CIRCLE: {
				  const struct nk_command_circle *c = (const struct nk_command_circle*)cmd;
				  framebuf_circle( pfb, c->x+(c->w+c->h)/4, c->y-y0+(c->w+c->h)/4, (c->w+c->h)/4, nk_colot_to_rgb666( c->color ) );
			  } break;
			  case NK_COMMAND_CIRCLE_FILLED: {
				  const struct nk_command_circle_filled *c = (const struct nk_command_circle_filled *)cmd;
				  framebuf_fill_circle( pfb, c->x+(c->w+c->h)/4, c->y-y0+(c->w+c->h)/4, (c->w+c->h)/4, nk_colot_to_rgb666( c->color ) );
			  } break;
			  case NK_COMMAND_TEXT: {
				  const struct nk_command_text *t = (const struct nk_command_text*)cmd;
				  framebuf_text( pfb, &fontUbuntuBookRNormal16, t->x, t->y-y0, (char *)t->string, 0xFFFF );
			  } break;
			  case NK_COMMAND_IMAGE: {
				  const struct nk_command_image *i = (const struct nk_command_image*)cmd;
				  framebuf_fill_rect( pfb, i->x, i->y-y0, i->w, i->h, 0x0003FFFF );
			  } break;
			  case NK_COMMAND_TRIANGLE_FILLED: {
				  const struct nk_command_triangle_filled *t = (const struct nk_command_triangle_filled*)cmd;
				  struct nk_color t_color = t->color;
				if( 1 )
				{
				  t_color.r = 175;
				  t_color.g = 175;
				  t_color.b = 175;
				  t_color.a = 255;
				}

				  framebuf_line( pfb, t->a.x, t->a.y-y0, t->b.x, t->b.y-y0, 0xFFFF );
				  framebuf_line( pfb, t->b.x, t->b.y-y0, t->c.x, t->c.y-y0, 0xFFFF );
				  framebuf_line( pfb, t->c.x, t->c.y-y0, t->a.x, t->a.y-y0, 0xFFFF );
			  } break;
			  default: break;
			  }
		  }
	  }

		lcd_bmp( pLcd, 0, y0, pfb->width, pfb->height, pfb->buf );
	  }
}

/* USER CODE END 0 */

int main(void)
{

  /* MCU Configuration--------------------------------------------------------*/

  /* Reset of all peripherals, Initializes the Flash interface and the Systick. */
  HAL_Init();

  /* Configure the system clock */
  SystemClock_Config();

  /* Initialize all configured peripherals */
  MX_GPIO_Init();
  MX_DMA_Init();
  MX_QUADSPI1_Init();
  MX_ADC1_Init();
  MX_DAC2_Init();
  MX_OPAMP1_Init();
  MX_DAC1_Init();
  MX_ADC3_Init();
  MX_ADC4_Init();
  MX_ADC5_Init();
  MX_OPAMP3_Init();
  MX_OPAMP5_Init();
  MX_OPAMP6_Init();
  MX_FMC_Init();
  MX_SPI3_Init();
  MX_TIM1_Init();
  MX_TIM2_Init();
  MX_TIM3_Init();
  /* USER CODE BEGIN 2 */

  // hsram1.Init.WriteFifo = FMC_WRITE_FIFO_ENABLE;

  //float ax = 250/989.0;
  //float bx = -15800/989.0;
  //float ay = 250/1407.0;
  //float by = -1150/67.0;

  //solve([50=a*250+b,480-50=a*1760+b],[a,b])
  float ax = 38.0/151.0;
  float bx = -1950.0/151.0;
  //solve([50=a*387+b,320-50=a*1627+b],[a,b])
  float ay = 11.0/62.0;
  float by = -1157.0/62.0;

  uint16_t x = 0, y = 0;
  uint16_t x_bck = 0, y_bck = 0;

  tLcd lcd;
  lcd_init( &lcd, GPIOA, GPIO_PIN_9, GPIOA, GPIO_PIN_8, 480, 320 );

  tTsc2046 tsc;
  tsc2046_init( &tsc, &hspi3, GPIOA, GPIO_PIN_15, ax, bx, ay, by, 8 );

  //lcd_config();

  lcd_rect( &lcd, 50, 50, 2, 2, 0xFFFF );
  lcd_rect( &lcd, 240-50, 50, 2, 2, 0xFFFF );
  lcd_rect( &lcd, 50, 320-50, 2, 2, 0xFFFF );
  lcd_rect( &lcd, 240-50, 320-50, 2, 2, 0xFFFF );

  while( 0 )
  {
	  static int cnt = 0;
	  tsc.avg = 1;
	  uint16_t x = 0, y = 0;
	  tsc2046_read( &tsc, &x, &y );
	  lcd_rect( &lcd, x, y, 2, 2, 0xFFFF );
	  printf("%d, %d, %d\n", cnt++, x, y );
	  HAL_Delay( 1 );
  }

  static struct nk_context ctx;
  static struct nk_buffer cmds;
  static struct nk_buffer pool;
  static struct nk_user_font font;
  static uint8_t buf_cmds[1024*8] = {0};
  static uint8_t buf_pool[1024*8] = {0};

  nk_buffer_init_fixed( &cmds, buf_cmds, 1024*8 );
  nk_buffer_init_fixed( &pool, buf_pool, 1024*8 );

  font.height = fontUbuntuBookRNormal16.bbxh;
  font.width = text_width_f;
  nk_init_custom( &ctx, &cmds, &pool, &font );

	static uint8_t fb_buf[240*80*2];
	tFramebuf fb;

	framebuf_init( &fb, 240, 80, fb_buf );

	  int pressed = 1;
	  int pressed_bck = 0;
	  int pressed_bck2 = 0;
	int pressed_cnt = 0;
	static struct Oscilloscope osc = {0};

  while( 1 )
  {
	  x_bck = x;
	  y_bck = y;
	  tsc2046_read( &tsc, &x, &y );

	  pressed_bck2 = pressed_bck;
	  pressed_bck = pressed;
	  pressed = (x!=0);

	  if(  (pressed || pressed_bck) )// && (pressed != pressed_bck) )
	  {
		  //printf("%d, %d, %d, %d, %d, %d, %d,\n", pressed_cnt, pressed, pressed_bck, x, y, x_bck, y_bck );
		  static int a = 0;
		  static int b = 0;
		  int d = 0;
		  a = get_systick();
		  pressed_cnt++;
		  nk_input_begin( &ctx );
		  if( pressed )
		  {
			  nk_input_motion( &ctx, x, y );
			  nk_input_button( &ctx, 0, x, y, 1 );
		  }
		  else if( pressed_bck )
		  {
			  nk_input_motion( &ctx, x_bck, y_bck );
			  nk_input_button( &ctx, 0, x_bck, y_bck, 0 );
		  }
		  nk_input_end( &ctx );

		  oscilloscope_process(&osc, &ctx);
		  nk_draw_fb( &ctx, &fb, &lcd );
		  nk_clear(&ctx);
		  //HAL_Delay(10);
		  b = get_systick();
		  d = diff_systick( b, a );
		  if( x )
		  {
			  lcd_rect( &lcd, x-4, y, 4, 2, 0xFFFF );
			  lcd_rect( &lcd, x+2, y, 4, 2, 0xFFFF );
			  lcd_rect( &lcd, x, y-4, 2, 4, 0xFFFF );
			  lcd_rect( &lcd, x, y+2, 2, 4, 0xFFFF );
		  }
	  }
	  //else if( nk_window_is_collapsed( &ctx, "STM32G4 Scope" ) )
	  {
		  static int collapsed = 0;
		  static int collapsed_bck = 0;
		  collapsed_bck = collapsed;
		  collapsed = nk_window_is_collapsed( &ctx, "STM32G4 Scope" );
		  test_scope( &lcd, !collapsed );
		  if( collapsed != collapsed_bck )
		  {
			  lcd_rect( &lcd, 0, 0, 480, 320, 0x0000 );
		  }
	  }

  }
  /*

TIM
AWD
DMA

modpsram
	read( addr, buf, len )
	write( addr, buf, len )

modfsmc
	read( addr, buf, len )
	write( addr, buf, len )

modscope
	config( channel, trigger_mode, trigger_edge, trigger_value )
	read( channel, buf, len )

modawg
	start()
	stop()
	write( channel, buf, len )

  */

  psram_test();

  /* USER CODE END 2 */

  /* Infinite loop */
  /* USER CODE BEGIN WHILE */
  while (1)
  {
	  HAL_GPIO_WritePin(GPIOA, GPIO_PIN_2, GPIO_PIN_RESET);
	  HAL_Delay( 200 );
	  HAL_GPIO_WritePin(GPIOA, GPIO_PIN_2, GPIO_PIN_SET);
	  HAL_Delay( 100 );

    /* USER CODE END WHILE */

  }
}

void SystemClock_Config(void)
{
  RCC_OscInitTypeDef RCC_OscInitStruct = {0};
  RCC_ClkInitTypeDef RCC_ClkInitStruct = {0};

  /** Configure the main internal regulator output voltage
  */
  HAL_PWREx_ControlVoltageScaling(PWR_REGULATOR_VOLTAGE_SCALE1_BOOST);

  /** Initializes the RCC Oscillators according to the specified parameters
  * in the RCC_OscInitTypeDef structure.
  */
  RCC_OscInitStruct.OscillatorType = RCC_OSCILLATORTYPE_HSE;
  RCC_OscInitStruct.HSEState = RCC_HSE_ON;
  RCC_OscInitStruct.PLL.PLLState = RCC_PLL_ON;
  RCC_OscInitStruct.PLL.PLLSource = RCC_PLLSOURCE_HSE;
  RCC_OscInitStruct.PLL.PLLM = RCC_PLLM_DIV6;
  RCC_OscInitStruct.PLL.PLLN = 85;
  RCC_OscInitStruct.PLL.PLLP = RCC_PLLP_DIV2;
  RCC_OscInitStruct.PLL.PLLQ = RCC_PLLQ_DIV8;
  RCC_OscInitStruct.PLL.PLLR = RCC_PLLR_DIV2;
  if (HAL_RCC_OscConfig(&RCC_OscInitStruct) != HAL_OK)
  {
    Error_Handler();
  }

  /** Initializes the CPU, AHB and APB buses clocks
  */
  RCC_ClkInitStruct.ClockType = RCC_CLOCKTYPE_HCLK|RCC_CLOCKTYPE_SYSCLK
                              |RCC_CLOCKTYPE_PCLK1|RCC_CLOCKTYPE_PCLK2;
  RCC_ClkInitStruct.SYSCLKSource = RCC_SYSCLKSOURCE_PLLCLK;
  RCC_ClkInitStruct.AHBCLKDivider = RCC_SYSCLK_DIV1;
  RCC_ClkInitStruct.APB1CLKDivider = RCC_HCLK_DIV1;
  RCC_ClkInitStruct.APB2CLKDivider = RCC_HCLK_DIV1;

  if (HAL_RCC_ClockConfig(&RCC_ClkInitStruct, FLASH_LATENCY_4) != HAL_OK)
  {
    Error_Handler();
  }
}

void Error_Handler(void)
{
  __disable_irq();
  while (1)
  {
  }
}
